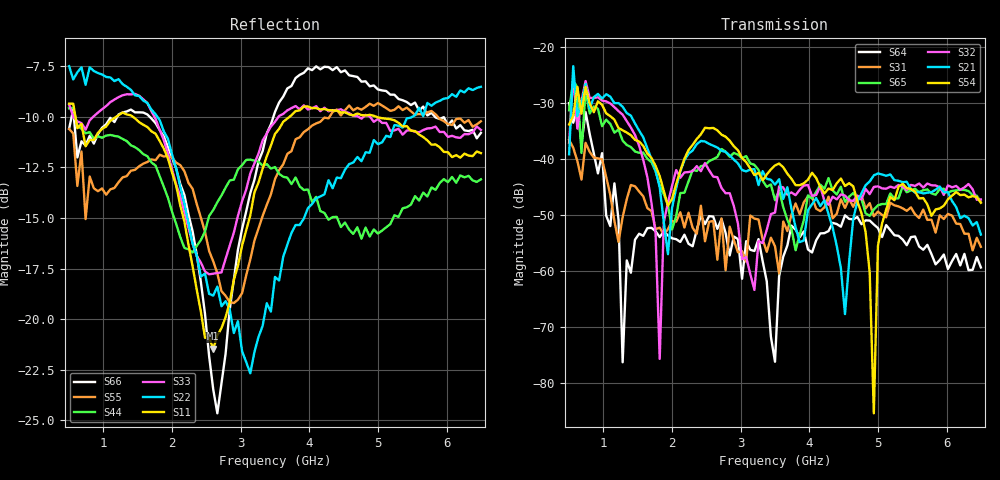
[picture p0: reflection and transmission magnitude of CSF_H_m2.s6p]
!Keysight Technologies,M9804A,MY58100912,A.14.10.03
!Date: Thursday, April 27, 2023 10:28:33
!Correction: S11(C  6-Port  )
!S12(C  6-Port  )
!S13(C  6-Port  )
!S14(C  6-Port  )
!S15(C  6-Port  )
!S16(C  6-Port  )
!S21(C  6-Port  )
!S22(C  6-Port  )
!S23(C  6-Port  )
!S24(C  6-Port  )
!S25(C  6-Port  )
!S26(C  6-Port  )
!S31(C  6-Port  )
!S32(C  6-Port  )
!S33(C  6-Port  )
!S34(C  6-Port  )
!S35(C  6-Port  )
!S36(C  6-Port  )
!S41(C  6-Port  )
!S42(C  6-Port  )
!S43(C  6-Port  )
!S44(C  6-Port  )
!S45(C  6-Port  )
!S46(C  6-Port  )
!S51(C  6-Port  )
!S52(C  6-Port  )
!S53(C  6-Port  )
!S54(C  6-Port  )
!S55(C  6-Port  )
!S56(C  6-Port  )
!S61(C  6-Port  )
!S62(C  6-Port  )
!S63(C  6-Port  )
!S64(C  6-Port  )
!S65(C  6-Port  )
!S66(C  6-Port  )
!S6P File: Measurement: :
# Hz S  RI  R 50
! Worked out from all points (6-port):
!   101 points, 500 MHz to 6.5 GHz, reference 50 ohm
!   strongest paths, dB at 500 MHz, 2 GHz, 3.5 GHz, 5 GHz, 6.5 GHz:
!     S54: -33.9, -47.2, -41.2, -55.6, -47.9
!     S21: -39.2, -48.8, -44.6, -42.6, -53.6
!     S32: -37.2, -44.8, -49.6, -44.9, -47.3
!     S65: -31.4, -52.6, -47.4, -48.3, -47.8
!     S31: -36.7, -51.1, -55.6, -49.5, -55.7
!     S64: -30.1, -54.2, -76.2, -52.4, -59.4
!   lowest |S11| = -21.5 dB at 2.6 GHz (marker M1), VSWR 1.18, Z = 42.5 + j2.21 ohm
!   |S11| at or under -10 dB: 592 MHz to 1.186 GHz (594.3 MHz wide, 66.8 % of centre); 1.428 GHz to 3.713 GHz (2.285 GHz wide, 88.9 % of centre); 4.976 GHz to end of sweep
